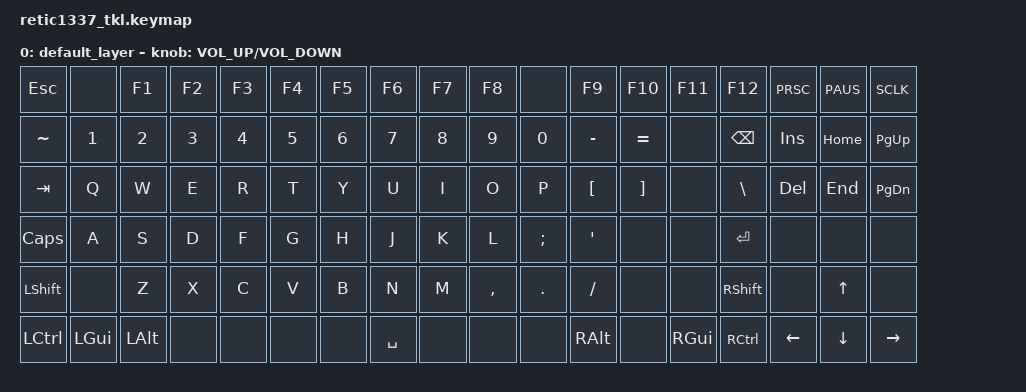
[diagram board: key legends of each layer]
/*
 * Copyright (c) 2020 The ZMK Contributors
 *
 * SPDX-License-Identifier: MIT
 */

#include <behaviors.dtsi>
#include <dt-bindings/zmk/keys.h>
#include <dt-bindings/zmk/bt.h>

/ {
keymap {
	compatible = "zmk,keymap";

	default_layer {
		bindings = <
			&kp ESC   &none &kp F1   &kp F2   &kp F3   &kp F4   &kp F5   &kp F6    &kp F7    &kp F8    &none &kp F9     &kp F10   &kp F11  &kp F12   &kp PRSC   &kp PAUS &kp SCLK
 			&kp TILDE &kp N1   &kp N2   &kp N3   &kp N4   &kp N5   &kp N6   &kp N7    &kp   N8  &kp  N9   &kp  N0  &kp MINUS  &kp EQUAL &none &kp BSPC  &kp INS    &kp HOME &kp PG_UP
			&kp TAB   &kp Q    &kp W    &kp E    &kp R    &kp T    &kp Y    &kp U     &kp   I   &kp  O    &kp   P  &kp LBKT   &kp RBKT  &none &kp BSLH  &kp DELETE &kp END  &kp PG_DN
			&kp CLCK  &kp A    &kp S    &kp D    &kp F    &kp G    &kp H    &kp J     &kp   K   &kp  L    &kp SEMI &kp SQT    &none  &none &kp RET   &none   &none &none
			&kp LSHFT &none &kp Z    &kp X    &kp C    &kp V    &kp B    &kp N     &kp M     &kp COMMA &kp DOT  &kp FSLH   &none  &none &kp RSHFT &none   &kp UP   &none
			&kp LCTRL &kp LGUI &kp LALT &none &none &none &none &kp SPACE &none  &none  &none &kp RALT   &none  &kp RGUI &kp RCTRL &kp LEFT   &kp DOWN &kp RIGHT
			>;
		sensor-bindings = <&inc_dec_kp C_VOLUME_UP C_VOLUME_DOWN>;
		};
	};
};
